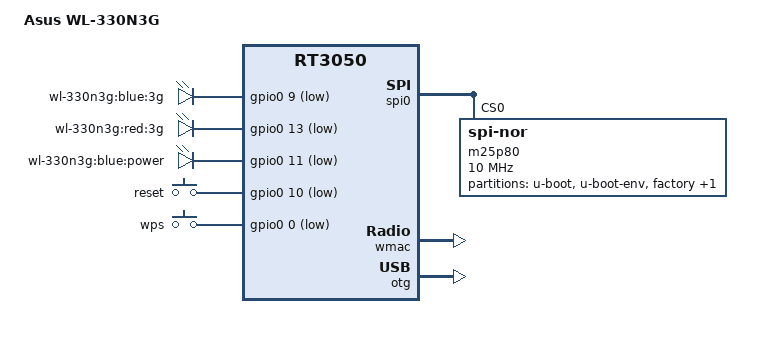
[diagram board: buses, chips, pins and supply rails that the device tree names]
/dts-v1/;

#include "rt3050.dtsi"

/ {
	compatible = "WL-330N3G", "ralink,rt3050-soc";
	model = "Asus WL-330N3G";

	gpio-leds {
		compatible = "gpio-leds";

		3g {
			label = "wl-330n3g:blue:3g";
			gpios = <&gpio0 9 1>;
		};

		3g2 {
			label = "wl-330n3g:red:3g";
			gpios = <&gpio0 13 1>;
		};

		power {
			label = "wl-330n3g:blue:power";
			gpios = <&gpio0 11 1>;
		};
	};

	gpio-keys-polled {
		compatible = "gpio-keys-polled";
		#address-cells = <1>;
		#size-cells = <0>;
		poll-interval = <20>;

		reset {
			label = "reset";
			gpios = <&gpio0 10 1>;
			linux,code = <0x198>;
		};

		wps {
			label = "wps";
			gpios = <&gpio0 0 1>;
			linux,code = <0x198>;
		};
	};
};

&spi0 {
	status = "okay";

	m25p80@0 {
		#address-cells = <1>;
		#size-cells = <1>;
		compatible = "jedec,spi-nor";
		reg = <0>;
		linux,modalias = "m25p80", "mx25l3205d";
		spi-max-frequency = <10000000>;

		partition@0 {
			label = "u-boot";
			reg = <0x0 0x30000>;
			read-only;
		};

		partition@30000 {
			label = "u-boot-env";
			reg = <0x30000 0x10000>;
			read-only;
		};

		factory: partition@40000 {
			label = "factory";
			reg = <0x40000 0x10000>;
			read-only;
		};

		partition@50000 {
			label = "firmware";
			reg = <0x50000 0x3b0000>;
		};
	};
};

&pinctrl {
	state_default: pinctrl0 {
		gpio {
			ralink,group = "i2c", "jtag", "rgmii", "mdio", "uartf";
			ralink,function = "gpio";
		};
	};
};

&ethernet {
	mtd-mac-address = <&factory 0x4>;
};

&esw {
	mediatek,portmap = <0x3e>;
};

&wmac {
	ralink,mtd-eeprom = <&factory 0>;
};

&otg {
	status = "okay";
};
